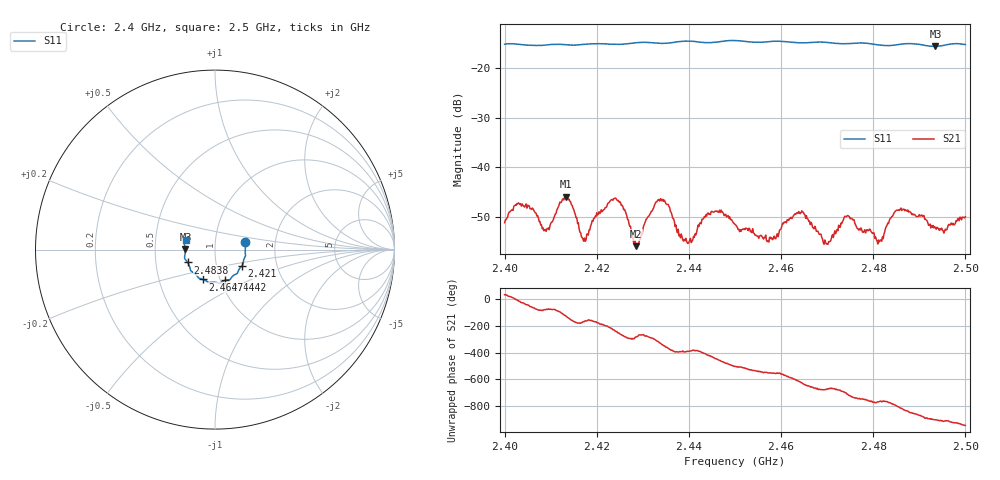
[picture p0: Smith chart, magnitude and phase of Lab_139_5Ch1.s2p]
# Hz S RI R 50
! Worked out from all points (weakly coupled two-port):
!   601 points, 2.4 GHz to 2.5 GHz, reference 50 ohm
!   highest |S21| = -45.92 dB at 2.4133 GHz (marker M1); lowest = -55.9 dB at 2.4285 GHz (marker M2)
!   lowest |S11| = -15.7 dB at 2.4935 GHz (marker M3), VSWR 1.39, Z = 35.8 + j0.197 ohm
!   |S11| at or under -10 dB: start of sweep to end of sweep
!   S12 and S22 are empty: the file has one direction only
!   S11 on the Smith chart (normalised r, x): 2.4 GHz: 1.40, +0.12; 2.421 GHz: 1.33, -0.24; 2.4442 GHz: 1.05, -0.37; 2.4647 GHz: 0.83, -0.28; 2.4838 GHz: 0.73, -0.11; 2.5 GHz: 0.71, +0.08
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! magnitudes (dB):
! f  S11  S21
! 2.4 GHz  -15.2  -51.2
! 2.4033 GHz  -15.2  -47.5
! 2.4092 GHz  -15.4  -52.4
! 2.4133 GHz  -15.3  -45.9
! 2.4167 GHz  -15.3  -54.0
! 2.421 GHz  -15.1  -48.6
! 2.4247 GHz  -15.2  -46.7
! 2.4285 GHz  -14.9  -55.9
! 2.4333 GHz  -15.0  -46.5
! 2.4393 GHz  -14.6  -54.3
! 2.4442 GHz  -14.9  -49.2
! 2.45 GHz  -14.5  -51.5
! 2.4573 GHz  -14.7  -55.1
! 2.4647 GHz  -14.9  -49.0
! 2.4667 GHz  -14.8  -51.4
! 2.4702 GHz  -14.9  -55.6
! 2.4743 GHz  -15.1  -49.8
! 2.4813 GHz  -15.4  -55.1
! 2.4833 GHz  -15.5  -51.4
! 2.4838 GHz  -15.5  -50.2
! 2.4935 GHz  -15.7  -52.2
! 2.5 GHz  -15.3  -50.0
